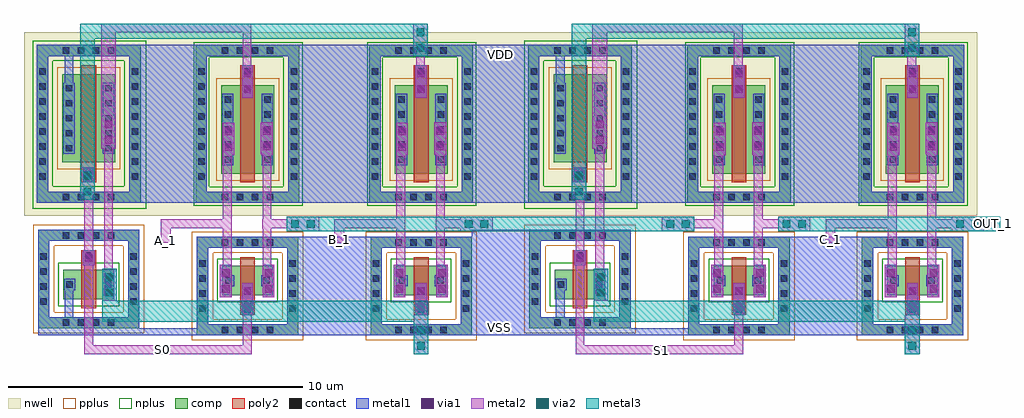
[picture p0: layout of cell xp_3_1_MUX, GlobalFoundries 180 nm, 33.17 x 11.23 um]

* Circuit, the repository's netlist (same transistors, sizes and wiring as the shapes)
* Extracted by KLayout with GF180MCU LVS runset on : 11/09/2025 00:42

.SUBCKT xp_3_1_MUX VDD B_1 C_1 OUT_1 S1 S0 VSS A_1
M$1 \$2 S1 VDD VDD pfet_03v3 L=0.5U W=3U AS=1.95P AD=1.95P PS=7.3U PD=7.3U
M$2 \$4 S0 B_1 VDD pfet_03v3 L=0.5U W=3U AS=1.95P AD=1.95P PS=7.3U PD=7.3U
M$3 OUT_1 S1 C_1 VDD pfet_03v3 L=0.5U W=3U AS=1.95P AD=1.95P PS=7.3U PD=7.3U
M$4 \$16 S0 VDD VDD pfet_03v3 L=0.5U W=3U AS=1.95P AD=1.95P PS=7.3U PD=7.3U
M$5 \$4 \$16 A_1 VDD pfet_03v3 L=0.5U W=3U AS=1.95P AD=1.95P PS=7.3U PD=7.3U
M$6 OUT_1 \$2 \$4 VDD pfet_03v3 L=0.5U W=3U AS=1.95P AD=1.95P PS=7.3U PD=7.3U
M$7 \$2 S1 VSS VSS nfet_03v3 L=0.5U W=1U AS=0.61P AD=0.61P PS=3.22U PD=3.22U
M$8 \$4 \$16 B_1 VSS nfet_03v3 L=0.5U W=1U AS=0.61P AD=0.61P PS=3.22U PD=3.22U
M$9 OUT_1 \$2 C_1 VSS nfet_03v3 L=0.5U W=1U AS=0.61P AD=0.61P PS=3.22U PD=3.22U
M$10 \$16 S0 VSS VSS nfet_03v3 L=0.5U W=1U AS=0.61P AD=0.61P PS=3.22U PD=3.22U
M$11 \$4 S0 A_1 VSS nfet_03v3 L=0.5U W=1U AS=0.61P AD=0.61P PS=3.22U PD=3.22U
M$12 OUT_1 S1 \$4 VSS nfet_03v3 L=0.5U W=1U AS=0.61P AD=0.61P PS=3.22U PD=3.22U
.ENDS xp_3_1_MUX

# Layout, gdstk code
import gdstk
lib = gdstk.Library(unit=1e-6, precision=5e-09)
def R(c, l, rs):  # rectangles x0, y0, x1, y1
    for r in rs: c.add(gdstk.rectangle(r[:2], r[2:], *l))
def A(c, l, x, y, w, h, nx, ny, dx, dy):  # array of equal rectangles
    R(c, l, [(x+i*dx, y+j*dy, x+i*dx+w, y+j*dy+h) for i in range(nx) for j in range(ny)])
def P(c, l, *ps):  # polygons
    for p in ps: c.add(gdstk.Polygon(p, *l))
nwell = (21, 0)
comp = (22, 0)
poly2 = (30, 0)
pplus = (31, 0)
nplus = (32, 0)
contact = (33, 0)
metal1 = (34, 0)
via1 = (35, 0)
metal2 = (36, 0)
via2 = (38, 0)
metal3 = (42, 0)

via_dev = lib.new_cell('via_dev')
R(via_dev, metal1, [(0,0,0.4,1.1)])
R(via_dev, via1, [(0.07,0.155,0.33,0.415), (0.07,0.685,0.33,0.945)])
R(via_dev, metal2, [(0,0,0.4,1.1)])

pfet = lib.new_cell('pfet')
R(pfet, nwell, [(-1.76,-1.43,2.64,4.81)])
R(pfet, comp, [(-0.46,0,0,3), (0,0,0.88,3), (0.88,0,1.34,3)])
P(pfet, comp, [(-1.32,-0.99),(-1.32,3.99),(-0.94,3.99),(-0.94,-0.61),(1.82,-0.61),(1.82,3.99),(-1.32,3.99),(-1.32,4.37),(2.2,4.37),(2.2,-0.99)])
R(pfet, poly2, [(0.19,-0.3,0.69,3.3), (0.19,3.3,0.69,3.68)])
R(pfet, pplus, [(-0.63,-0.24,1.51,3.24)])
A(pfet, contact, -0.435, -0.91, 0.22, 0.22, 4, 2, 0.51, 4.98)
A(pfet, contact, -1.24, -0.205, 0.22, 0.22, 1, 8, 0, 0.51)
A(pfet, contact, 1.9, -0.205, 0.22, 0.22, 1, 8, 0, 0.51)
A(pfet, contact, -0.34, 0.37, 0.22, 0.22, 1, 5, 0, 0.51)
A(pfet, contact, 1, 0.37, 0.22, 0.22, 1, 5, 0, 0.51)
R(pfet, contact, [(0.33,3.38,0.55,3.6)])
R(pfet, metal1, [(-0.42,0.29,-0.04,2.71), (0.92,0.29,1.3,2.71), (0.25,3.3,0.63,3.68)])

nfet = lib.new_cell('nfet')
R(nfet, comp, [(-0.42,0,0,1), (0,0,0.88,1), (0.88,0,1.3,1)])
P(nfet, comp, [(-1.28,-1.36),(-1.28,1.61),(-0.9,1.61),(-0.9,-0.98),(1.78,-0.98),(1.78,1.61),(-1.28,1.61),(-1.28,1.99),(2.16,1.99),(2.16,-1.36)])
R(nfet, poly2, [(0.19,-0.66,0.69,-0.3), (0.19,-0.3,0.69,1.3)])
P(nfet, pplus, [(-1.45,-1.53),(-1.45,1.44),(-0.73,1.44),(-0.73,-0.81),(1.61,-0.81),(1.61,1.44),(-1.45,1.44),(-1.45,2.16),(2.33,2.16),(2.33,-1.53)])
R(nfet, nplus, [(-0.59,-0.24,1.47,1.24)])
A(nfet, contact, -0.435, -1.28, 0.22, 0.22, 4, 2, 0.51, 2.97)
A(nfet, contact, -1.2, -0.56, 0.22, 0.22, 1, 4, 0, 0.51)
A(nfet, contact, 1.86, -0.56, 0.22, 0.22, 1, 4, 0, 0.51)
R(nfet, contact, [(0.33,-0.59,0.55,-0.37), (-0.32,0.39,-0.1,0.61), (0.98,0.39,1.2,0.61)])
R(nfet, metal1, [(0.25,-0.67,0.63,-0.29), (-0.4,0.31,-0.02,0.69), (0.9,0.31,1.28,0.69)])

pass1u05u = lib.new_cell('pass1u05u')
R(pass1u05u, nplus, [(2.82,1,3.35,6.54), (2.82,1,6.53,1.64), (5.87,1,6.53,6.55), (2.82,6.05,6.53,6.55)])
R(pass1u05u, metal1, [(2.93,-3.41,3.31,-0.06), (3.31,-3.41,6.37,-3.03), (5.99,-3.03,6.37,-0.06), (3.31,-0.44,5.99,-0.06), (2.89,1.1,3.27,6.46), (3.27,1.1,6.41,1.48), (6.03,1.48,6.41,6.46), (3.27,6.08,6.03,6.46)])
pass1u05u.add(gdstk.FlexPath([(3.96,2.865),(3.96,-2.11)], 0.3, ends="flush", simple_path=True, layer=36, datatype=0))  # metal2
pass1u05u.add(gdstk.FlexPath([(5.31,2.865),(5.31,-2.11)], 0.3, ends="flush", simple_path=True, layer=36, datatype=0))  # metal2
pass1u05u.add(gdstk.FlexPath([(4.64,-2.42),(4.64,-4.05)], 0.3, ends="flush", simple_path=True, layer=36, datatype=0))  # metal2
pass1u05u.add(gdstk.FlexPath([(4.63,5.39),(4.63,7.18)], 0.3, ends="flush", simple_path=True, layer=36, datatype=0))  # metal2
pass1u05u.add(gdstk.FlexPath([(3.96,0.38),(2.03,0.38)], 0.3, ends="flush", simple_path=True, layer=36, datatype=0))  # metal2
pass1u05u.add(gdstk.FlexPath([(7.08,0.38),(5.15,0.38)], 0.3, ends="flush", simple_path=True, layer=36, datatype=0))  # metal2
pass1u05u.add(gdstk.Reference(via_dev, (3.71,-2.11)))
pass1u05u.add(gdstk.Reference(via_dev, (5.16,-2.11)))
pass1u05u.add(gdstk.Reference(via_dev, (3.8,2.71)))
pass1u05u.add(gdstk.Reference(via_dev, (5.1,2.73)))
pass1u05u.add(gdstk.Reference(pfet, (4.21,2.09)))
pass1u05u.add(gdstk.Reference(nfet, (4.21,-2.05)))
pass1u05u.add(gdstk.Reference(via_dev, (4.45,4.67)))
pass1u05u.add(gdstk.Reference(via_dev, (4.45,-2.72)))
pass1u05u.add(gdstk.Label('vdd', (6.2,6.12), layer=34, texttype=10))
pass1u05u.add(gdstk.Label('vss', (6.12,-3.2), layer=34, texttype=10))
pass1u05u.add(gdstk.Label('ind', (2.2,0.38), layer=36, texttype=10))
pass1u05u.add(gdstk.Label('ins', (6.94,0.35), layer=36, texttype=10))
pass1u05u.add(gdstk.Label('clkp', (4.63,7.01), layer=36, texttype=10))
pass1u05u.add(gdstk.Label('clkn', (4.64,-3.85), layer=36, texttype=10))

pfet_1 = lib.new_cell('pfet$1')
R(pfet_1, nwell, [(-1.76,-1.81,2.64,4.43)])
R(pfet_1, comp, [(-0.46,0,0,3), (0,0,0.88,3), (0.88,0,1.34,3)])
P(pfet_1, comp, [(-1.32,-1.37),(-1.32,3.61),(-0.94,3.61),(-0.94,-0.99),(1.82,-0.99),(1.82,3.61),(-1.32,3.61),(-1.32,3.99),(2.2,3.99),(2.2,-1.37)])
R(pfet_1, poly2, [(0.19,-0.68,0.69,-0.3), (0.19,-0.3,0.69,3.3)])
R(pfet_1, pplus, [(-0.63,-0.24,1.51,3.24)])
A(pfet_1, contact, -0.435, -1.29, 0.22, 0.22, 4, 2, 0.51, 4.98)
A(pfet_1, contact, -1.24, -0.585, 0.22, 0.22, 1, 8, 0, 0.51)
A(pfet_1, contact, 1.9, -0.585, 0.22, 0.22, 1, 8, 0, 0.51)
A(pfet_1, contact, -0.34, 0.37, 0.22, 0.22, 1, 5, 0, 0.51)
A(pfet_1, contact, 1, 0.37, 0.22, 0.22, 1, 5, 0, 0.51)
R(pfet_1, contact, [(0.33,-0.6,0.55,-0.38)])
R(pfet_1, metal1, [(0.25,-0.68,0.63,-0.3), (-0.42,0.29,-0.04,2.71), (0.92,0.29,1.3,2.71)])

via_dev_1 = lib.new_cell('via_dev$1')
R(via_dev_1, metal1, [(0,0,0.4,0.5)])
R(via_dev_1, via1, [(0.07,0.12,0.33,0.38)])
R(via_dev_1, metal2, [(0,0,0.4,0.5)])

via_dev_2 = lib.new_cell('via_dev$2')
R(via_dev_2, metal1, [(0,0,0.5,1.1)])
R(via_dev_2, via1, [(0.12,0.155,0.38,0.415), (0.12,0.685,0.38,0.945)])
R(via_dev_2, metal2, [(0,0,0.5,1.1)])

via_dev_3 = lib.new_cell('via_dev$3')
R(via_dev_3, metal1, [(0,0,0.4,1.1)])
R(via_dev_3, via1, [(0.07,0.155,0.33,0.415), (0.07,0.685,0.33,0.945)])
R(via_dev_3, metal2, [(0,0,0.4,1.1)])

nfet_1 = lib.new_cell('nfet$1')
R(nfet_1, comp, [(-0.42,0,0,1), (0,0,0.88,1), (0.88,0,1.3,1)])
P(nfet_1, comp, [(-1.28,-0.99),(-1.28,1.98),(-0.9,1.98),(-0.9,-0.61),(1.78,-0.61),(1.78,1.98),(-1.28,1.98),(-1.28,2.36),(2.16,2.36),(2.16,-0.99)])
R(nfet_1, poly2, [(0.19,-0.3,0.69,1.3), (0.19,1.3,0.69,1.66)])
P(nfet_1, pplus, [(-1.45,-1.16),(-1.45,1.81),(-0.73,1.81),(-0.73,-0.44),(1.61,-0.44),(1.61,1.81),(-1.45,1.81),(-1.45,2.53),(2.33,2.53),(2.33,-1.16)])
R(nfet_1, nplus, [(-0.59,-0.24,1.47,1.24)])
A(nfet_1, contact, -0.435, -0.91, 0.22, 0.22, 4, 2, 0.51, 2.97)
A(nfet_1, contact, -1.2, -0.19, 0.22, 0.22, 1, 4, 0, 0.51)
A(nfet_1, contact, 1.86, -0.19, 0.22, 0.22, 1, 4, 0, 0.51)
R(nfet_1, contact, [(-0.32,0.39,-0.1,0.61), (0.98,0.39,1.2,0.61), (0.33,1.37,0.55,1.59)])
R(nfet_1, metal1, [(-0.4,0.31,-0.02,0.69), (0.9,0.31,1.28,0.69), (0.25,1.29,0.63,1.67)])

inv1u05u = lib.new_cell('inv1u05u')
R(inv1u05u, nplus, [(1.15,4.7,1.82,10.42), (1.15,4.7,5,5.46), (4.26,4.7,5,10.42), (1.15,9.74,5,10.42)])
R(inv1u05u, metal1, [(1.33,0.64,1.71,3.61), (1.71,0.64,4.39,1.02), (4.39,0.64,4.77,3.61), (1.33,3.61,4.77,3.99), (1.29,4.91,4.81,5.29), (4.43,4.91,4.81,10.27), (1.29,5.29,1.67,9.89), (1.29,9.89,1.72,10.27), (1.72,9.89,4.43,10.27), (4.43,9.89,4.81,10.27)])
inv1u05u.add(gdstk.FlexPath([(2.38,2.02),(2.38,0.72)], 0.3, ends="flush", simple_path=True, layer=34, datatype=0))  # metal1
inv1u05u.add(gdstk.FlexPath([(2.38,8.18),(2.38,10.19)], 0.3, ends="flush", simple_path=True, layer=34, datatype=0))  # metal1
inv1u05u.add(gdstk.FlexPath([(3.05,5.68),(3.05,2.79)], 0.3, ends="flush", simple_path=True, layer=36, datatype=0))  # metal2
inv1u05u.add(gdstk.FlexPath([(3.72,7.16),(3.72,2.13)], 0.3, ends="flush", simple_path=True, layer=36, datatype=0))  # metal2
inv1u05u.add(gdstk.Reference(pfet_1, (2.61,6.28)))
inv1u05u.add(gdstk.Reference(via_dev_1, (2.86,5.61)))
inv1u05u.add(gdstk.Reference(via_dev_2, (3.47,6.75)))
inv1u05u.add(gdstk.Reference(via_dev_3, (3.51,1.57)))
inv1u05u.add(gdstk.Reference(via_dev_1, (2.85,2.79)))
inv1u05u.add(gdstk.Reference(nfet_1, (2.61,1.63)))
inv1u05u.add(gdstk.Label('vss', (2.36,1.29), layer=34, texttype=10))
inv1u05u.add(gdstk.Label('vdd', (2.38,9.67), layer=34, texttype=10))
inv1u05u.add(gdstk.Label('out', (3.72,4.25), layer=36, texttype=10))
inv1u05u.add(gdstk.Label('in', (3.05,4.26), layer=36, texttype=10))

via_dev_5 = lib.new_cell('via_dev$5')
R(via_dev_5, metal2, [(0,0,1.1,0.5)])
R(via_dev_5, via2, [(0.155,0.12,0.415,0.38), (0.685,0.12,0.945,0.38)])
R(via_dev_5, metal3, [(0,0,1.1,0.5)])

via_dev_6 = lib.new_cell('via_dev$6')
R(via_dev_6, metal2, [(0,0,0.5,1.1)])
R(via_dev_6, via2, [(0.12,0.155,0.38,0.415), (0.12,0.685,0.38,0.945)])
R(via_dev_6, metal3, [(0,0,0.5,1.1)])

xp_3_1_mux = lib.new_cell('xp_3_1_MUX')
R(xp_3_1_mux, nwell, [(-0.75,4.01,0.25,10.25), (4.65,4.01,6.15,10.25), (10.55,4.01,11.55,10.25), (15.95,4.01,16.95,10.25), (21.35,4.01,22.85,10.25)])
R(xp_3_1_mux, metal1, [(-4.67,-0.06,0.73,0.18), (4.17,-0.06,6.63,3.29), (10.07,-0.06,12.03,3.53), (12.03,-0.06,17.43,0.18), (20.87,-0.06,23.33,3.29), (-1.19,4.45,0.69,9.81), (4.21,4.45,6.59,9.81), (10.11,4.45,11.99,9.81), (15.51,4.45,17.39,9.81), (20.91,4.45,23.29,9.81)])
R(xp_3_1_mux, metal2, [(-2.8,-0.7,2.29,-0.4), (13.9,-0.7,18.99,-0.4), (8.09,0.4,8.59,0.63), (24.79,0.4,25.29,0.63), (-0.5,3.095,-0.17,3.88), (5.4,3.095,5.73,3.88), (22.1,3.095,22.43,3.88), (-2.53,7.39,-2.03,10.53), (14.17,7.39,14.67,10.53), (-2.03,10.25,2.28,10.53), (14.67,10.25,18.98,10.53)])
R(xp_3_1_mux, metal3, [(-2.49,0.4,8.59,1.11), (14.21,0.4,25.29,1.11), (4.88,3.48,9.68,3.98), (10.78,3.48,16.53,3.98), (21.58,3.48,26.38,3.98), (27.48,3.48,28.025,3.98), (-2.74,10.03,8.08,10.53), (13.96,10.03,24.78,10.53)])
xp_3_1_mux.add(gdstk.FlexPath([(-2.95,2.33),(-2.95,-0.7)], 0.3, ends="flush", simple_path=True, layer=36, datatype=0))  # metal2
xp_3_1_mux.add(gdstk.FlexPath([(13.75,2.33),(13.75,-0.7)], 0.3, ends="flush", simple_path=True, layer=36, datatype=0))  # metal2
xp_3_1_mux.add(gdstk.FlexPath([(-2.99,5.65),(-2.99,10.53),(-2.99,10.53)], 0.5, ends="flush", simple_path=True, layer=42, datatype=0))  # metal3
xp_3_1_mux.add(gdstk.FlexPath([(13.71,5.65),(13.71,10.53),(13.71,10.53)], 0.5, ends="flush", simple_path=True, layer=42, datatype=0))  # metal3
xp_3_1_mux.add(gdstk.Reference(pass1u05u, (-2.2,3.35)))
xp_3_1_mux.add(gdstk.Reference(inv1u05u, (-6,-0.46)))
xp_3_1_mux.add(gdstk.Reference(pass1u05u, (3.7,3.35)))
xp_3_1_mux.add(gdstk.Reference(inv1u05u, (10.7,-0.46)))
xp_3_1_mux.add(gdstk.Reference(pass1u05u, (14.5,3.35)))
xp_3_1_mux.add(gdstk.Reference(pass1u05u, (20.4,3.35)))
xp_3_1_mux.add(gdstk.Reference(via_dev_5, (9.68,3.48)))
xp_3_1_mux.add(gdstk.Reference(via_dev_5, (3.78,3.48)))
xp_3_1_mux.add(gdstk.Reference(via_dev_5, (26.38,3.48)))
xp_3_1_mux.add(gdstk.Reference(via_dev_5, (20.48,3.48)))
xp_3_1_mux.add(gdstk.Reference(via_dev_6, (-2.49,1.11)))
xp_3_1_mux.add(gdstk.Reference(via_dev_6, (8.09,-0.7)))
xp_3_1_mux.add(gdstk.Reference(via_dev_6, (8.08,9.43)))
xp_3_1_mux.add(gdstk.Reference(via_dev_6, (-3.24,4.55)))
xp_3_1_mux.add(gdstk.Reference(via_dev_6, (24.78,9.43)))
xp_3_1_mux.add(gdstk.Reference(via_dev_6, (13.46,4.55)))
xp_3_1_mux.add(gdstk.Reference(via_dev_6, (14.21,1.11)))
xp_3_1_mux.add(gdstk.Reference(via_dev_6, (24.79,-0.7)))
xp_3_1_mux.add(gdstk.Reference(via_dev_5, (16.53,3.48)))
xp_3_1_mux.add(gdstk.Label('VSS', (11.01,0.2), layer=34, texttype=10))
xp_3_1_mux.add(gdstk.Label('VDD', (11.03,9.47), layer=34, texttype=10))
xp_3_1_mux.add(gdstk.Label('A_1', (-0.34,3.18), layer=36, texttype=10))
xp_3_1_mux.add(gdstk.Label('B_1', (5.57,3.195), layer=36, texttype=10))
xp_3_1_mux.add(gdstk.Label('C_1', (22.27,3.205), layer=36, texttype=10))
xp_3_1_mux.add(gdstk.Label('S0', (-0.445,-0.55), layer=36, texttype=10))
xp_3_1_mux.add(gdstk.Label('S1', (16.535,-0.565), layer=36, texttype=10))
xp_3_1_mux.add(gdstk.Label('OUT_1', (27.8,3.75), layer=42, texttype=10))

lib.write_gds('xp_3_1_MUX.gds')
